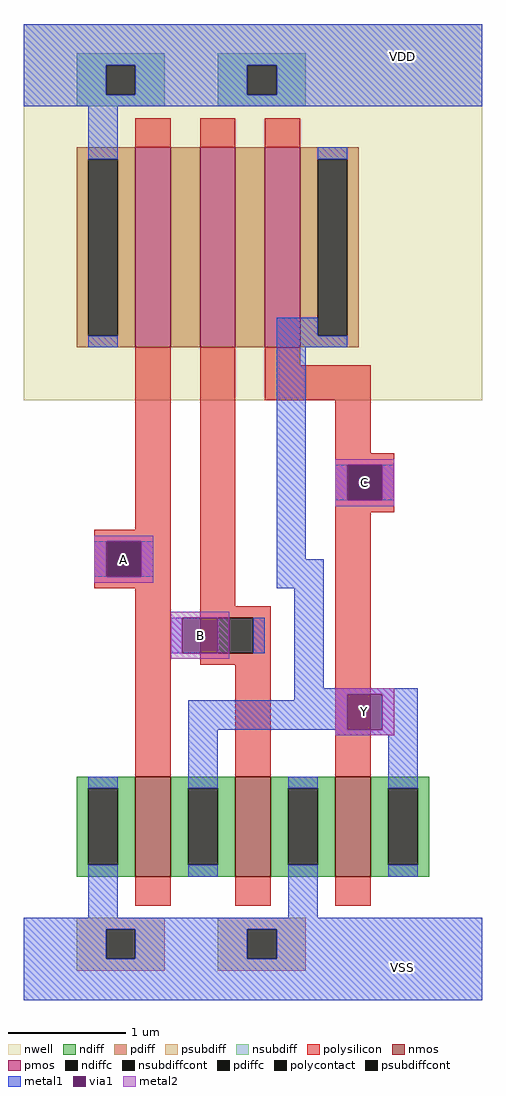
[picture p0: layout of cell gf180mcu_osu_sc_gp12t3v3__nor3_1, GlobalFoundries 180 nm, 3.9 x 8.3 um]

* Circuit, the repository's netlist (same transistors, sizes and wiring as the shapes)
* SPICE3 file created from gf180mcu_osu_sc_gp12t3v3__nor3_1_ext.ext - technology: gf180mcuD

.subckt gf180mcu_osu_sc_gp12t3v3__nor3_1 A B C VDD Y VSS
X0 Y A VSS VSS nfet_03v3 ad=0.23375p pd=1.4u as=0.425p ps=2.7u w=0.85u l=0.3u
X1 VSS B Y VSS nfet_03v3 ad=0.23375p pd=1.4u as=0.23375p ps=1.4u w=0.85u l=0.3u
X2 n330 B n220 VDD pfet_03v3 ad=0.2125p pd=1.95u as=0.2125p ps=1.95u w=1.7u l=0.3u
X3 Y C VSS VSS nfet_03v3 ad=0.425p pd=2.7u as=0.23375p ps=1.4u w=0.85u l=0.3u
X4 Y C n330 VDD pfet_03v3 ad=0.85p pd=4.4u as=0.2125p ps=1.95u w=1.7u l=0.3u
X5 n220 A VDD VDD pfet_03v3 ad=0.2125p pd=1.95u as=0.85p ps=4.4u w=1.7u l=0.3u
.ends

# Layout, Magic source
magic
tech gf180mcuD
<< nwell >>
rect -3 102 75 166
<< nmos >>
rect 16 21 22 38
rect 33 21 39 38
rect 50 21 56 38
<< pmos >>
rect 16 111 22 145
rect 27 111 33 145
rect 38 111 44 145
<< ndiff >>
rect 6 36 16 38
rect 6 23 8 36
rect 13 23 16 36
rect 6 21 16 23
rect 22 36 33 38
rect 22 23 25 36
rect 30 23 33 36
rect 22 21 33 23
rect 39 36 50 38
rect 39 23 42 36
rect 47 23 50 36
rect 39 21 50 23
rect 56 36 66 38
rect 56 23 59 36
rect 64 23 66 36
rect 56 21 66 23
<< pdiff >>
rect 6 143 16 145
rect 6 113 8 143
rect 13 113 16 143
rect 6 111 16 113
rect 22 111 27 145
rect 33 111 38 145
rect 44 143 54 145
rect 44 113 47 143
rect 52 113 54 143
rect 44 111 54 113
<< ndiffc >>
rect 8 23 13 36
rect 25 23 30 36
rect 42 23 47 36
rect 59 23 64 36
<< pdiffc >>
rect 8 113 13 143
rect 47 113 52 143
<< psubdiff >>
rect 6 12 21 14
rect 6 7 11 12
rect 16 7 21 12
rect 6 5 21 7
rect 30 12 45 14
rect 30 7 35 12
rect 40 7 45 12
rect 30 5 45 7
<< nsubdiff >>
rect 6 159 21 161
rect 6 154 11 159
rect 16 154 21 159
rect 6 152 21 154
rect 30 159 45 161
rect 30 154 35 159
rect 40 154 45 159
rect 30 152 45 154
<< psubdiffcont >>
rect 11 7 16 12
rect 35 7 40 12
<< nsubdiffcont >>
rect 11 154 16 159
rect 35 154 40 159
<< polysilicon >>
rect 16 145 22 150
rect 27 145 33 150
rect 38 145 44 150
rect 16 80 22 111
rect 9 78 22 80
rect 9 72 11 78
rect 17 72 22 78
rect 9 70 22 72
rect 16 38 22 70
rect 27 67 33 111
rect 38 108 44 111
rect 38 102 56 108
rect 50 93 56 102
rect 50 91 60 93
rect 50 85 52 91
rect 58 85 60 91
rect 50 83 60 85
rect 27 65 39 67
rect 27 59 30 65
rect 36 59 39 65
rect 27 57 39 59
rect 33 38 39 57
rect 50 38 56 83
rect 16 16 22 21
rect 33 16 39 21
rect 50 16 56 21
<< polycontact >>
rect 11 72 17 78
rect 52 85 58 91
rect 30 59 36 65
<< metal1 >>
rect -3 159 75 166
rect -3 154 11 159
rect 16 154 35 159
rect 40 154 75 159
rect -3 152 75 154
rect 8 143 13 152
rect 47 143 52 145
rect 8 111 13 113
rect 40 113 47 116
rect 40 111 52 113
rect 9 72 11 78
rect 17 72 19 78
rect 40 75 45 111
rect 50 85 52 91
rect 58 85 60 91
rect 40 70 48 75
rect 22 59 24 65
rect 36 59 38 65
rect 43 53 48 70
rect 43 52 64 53
rect 43 51 52 52
rect 25 46 52 51
rect 58 46 64 52
rect 8 36 13 38
rect 8 14 13 23
rect 25 36 30 46
rect 50 45 64 46
rect 25 21 30 23
rect 42 36 47 38
rect 42 14 47 23
rect 59 36 64 45
rect 59 21 64 23
rect -3 12 75 14
rect -3 7 11 12
rect 16 7 35 12
rect 40 7 75 12
rect -3 0 75 7
<< via1 >>
rect 11 72 17 78
rect 52 85 58 91
rect 24 59 30 65
rect 52 46 58 52
<< metal2 >>
rect 50 91 60 92
rect 50 85 52 91
rect 58 85 60 91
rect 50 84 60 85
rect 9 78 19 79
rect 9 72 11 78
rect 17 72 19 78
rect 9 71 19 72
rect 22 65 32 66
rect 22 59 24 65
rect 30 59 32 65
rect 22 58 32 59
rect 50 52 60 53
rect 50 46 52 52
rect 58 46 60 52
rect 50 45 60 46
<< labels >>
flabel metal1 53 157 70 164 0 FreeSans 48 0 0 0 VDD
port 4 nsew
flabel metal1 53 2 70 9 0 FreeSans 48 0 0 0 VSS
port 6 nsew
flabel metal2 9 71 19 79 0 FreeSans 48 0 0 0 A
port 1 nsew
flabel metal2 22 58 32 66 0 FreeSans 48 0 0 0 B
port 2 nsew
flabel metal2 50 45 60 53 0 FreeSans 48 0 0 0 Y
port 5 nsew
flabel metal2 50 84 60 92 0 FreeSans 48 0 0 0 C
port 3 nsew
<< properties >>
string FIXED_BBOX -3 0 75 166
<< end >>
